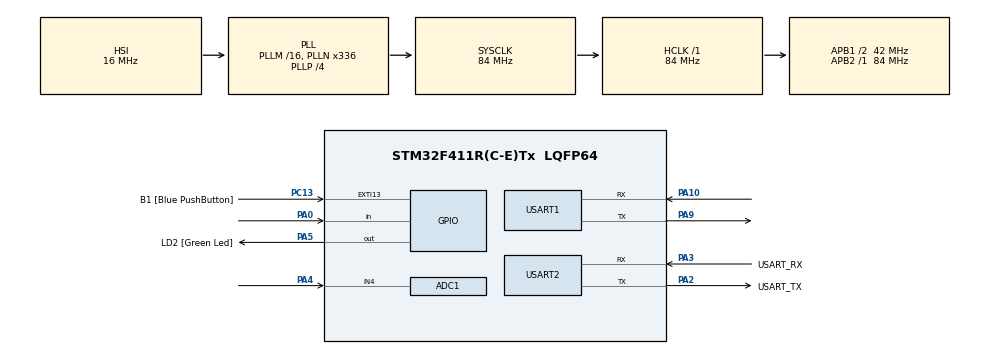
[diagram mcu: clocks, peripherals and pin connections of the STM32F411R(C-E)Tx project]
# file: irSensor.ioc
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ADC1.Channel-0\#ChannelRegularConversion=ADC_CHANNEL_4
ADC1.NbrOfConversionFlag=1
ADC1.Rank-0\#ChannelRegularConversion=1
ADC1.SamplingTime-0\#ChannelRegularConversion=ADC_SAMPLETIME_3CYCLES
ADC1.master=1
FREERTOS.Mutexes01=myMutex01,Dynamic,NULL
FREERTOS.Tasks01=defaultTask,0,128,StartDefaultTask,Default,NULL,Dynamic,NULL,NULL;myTask01,-3,128,StartTask01,Default,NULL,Dynamic,NULL,NULL;myTask02,-3,128,StartTask02,Default,NULL,Dynamic,NULL,NULL;myTask03,-3,128,StartTask03,Default,NULL,Dynamic,NULL,NULL;myTask04,-3,128,StartTask04,Default,NULL,Dynamic,NULL,NULL
Mcu.Family=STM32F4
Mcu.Name=STM32F411R(C-E)Tx
Mcu.Package=LQFP64
NVIC.PriorityGroup=NVIC_PRIORITYGROUP_4
NVIC.USART1_IRQn=true\:5\:0\:false\:false\:true\:true\:true\:true
PA0-WKUP.GPIO_PuPd=GPIO_PULLDOWN
PA0-WKUP.Signal=GPIO_Input
PA10.Mode=Asynchronous
PA10.Signal=USART1_RX
PA13.GPIO_Label=TMS
PA13.Mode=Serial_Wire
PA13.Signal=SYS_JTMS-SWDIO
PA14.GPIO_Label=TCK
PA14.Mode=Serial_Wire
PA14.Signal=SYS_JTCK-SWCLK
PA2.GPIO_Label=USART_TX
PA2.Mode=Asynchronous
PA2.Signal=USART2_TX
PA3.GPIO_Label=USART_RX
PA3.Mode=Asynchronous
PA3.Signal=USART2_RX
PA4.Signal=ADCx_IN4
PA5.GPIO_Label=LD2 [Green Led]
PA5.Signal=GPIO_Output
PA9.Mode=Asynchronous
PA9.Signal=USART1_TX
PB3.GPIO_Label=SWO
PB3.Signal=SYS_JTDO-SWO
PC13-ANTI_TAMP.GPIO_Label=B1 [Blue PushButton]
PC13-ANTI_TAMP.GPIO_ModeDefaultEXTI=GPIO_MODE_IT_FALLING
PC13-ANTI_TAMP.Signal=GPXTI13
PC14-OSC32_IN.Signal=RCC_OSC32_IN
PC15-OSC32_OUT.Signal=RCC_OSC32_OUT
PH0\ -\ OSC_IN.Mode=HSE-External-Oscillator
PH0\ -\ OSC_IN.Signal=RCC_OSC_IN
PH1\ -\ OSC_OUT.Mode=HSE-External-Oscillator
PH1\ -\ OSC_OUT.Signal=RCC_OSC_OUT
ProjectManager.HeapSize=0x200
ProjectManager.StackSize=0x400
ProjectManager.TargetToolchain=STM32CubeIDE
RCC.48MHZClocksFreq_Value=84000000
RCC.AHBFreq_Value=84000000
RCC.APB1CLKDivider=RCC_HCLK_DIV2
RCC.APB1Freq_Value=42000000
RCC.APB1TimFreq_Value=84000000
RCC.APB2Freq_Value=84000000
RCC.APB2TimFreq_Value=84000000
RCC.CortexFreq_Value=84000000
RCC.FLatency-AdvancedSettings=FLASH_LATENCY_2
RCC.HCLKFreq_Value=84000000
RCC.HSE_VALUE=8000000
RCC.HSI_VALUE=16000000
RCC.LSE_VALUE=32768
RCC.PLLN=336
RCC.PLLP=RCC_PLLP_DIV4
RCC.SYSCLKFreq_VALUE=84000000
RCC.SYSCLKSource=RCC_SYSCLKSOURCE_PLLCLK
RCC.VCOOutputFreq_Value=336000000
SH.ADCx_IN4.0=ADC1_IN4,IN4
USART1.VirtualMode=VM_ASYNC
USART2.VirtualMode=VM_ASYNC
VP_FREERTOS_VS_CMSIS_V1.Mode=CMSIS_V1
board=NUCLEO-F411RE

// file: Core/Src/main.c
/* USER CODE BEGIN Header */
/**
  ******************************************************************************
  * @file           : main.c
  * @brief          : Main program body
  ******************************************************************************
  * @attention
  *
  * Copyright (c) 2022 STMicroelectronics.
  * All rights reserved.
  *
  * This software is licensed under terms that can be found in the LICENSE file
  * in the root directory of this software component.
  * If no LICENSE file comes with this software, it is provided AS-IS.
  *
  ******************************************************************************
  */
/* USER CODE END Header */
#include "main.h"
#include "cmsis_os.h"

ADC_HandleTypeDef hadc1;

UART_HandleTypeDef huart1;
UART_HandleTypeDef huart2;

osThreadId defaultTaskHandle;
osThreadId myTask01Handle;
osThreadId myTask02Handle;
osThreadId myTask03Handle;
osThreadId myTask04Handle;
osMutexId myMutex01Handle;
/* USER CODE BEGIN PV */
char Rx_data[1] = { 0 };
//char Rx_data_Refill[1] = { 0 };
//char Rx_data_weight[10] = {0};
/* USER CODE END PV */

void SystemClock_Config(void);
static void MX_GPIO_Init(void);
static void MX_USART2_UART_Init(void);
static void MX_ADC1_Init(void);
static void MX_USART1_UART_Init(void);
void StartDefaultTask(void const * argument);
void StartTask01(void const * argument);
void StartTask02(void const * argument);
void StartTask03(void const * argument);
void StartTask04(void const * argument);

/* USER CODE BEGIN PFP */
int check1=0;
int count=0;
int c1=0;
int c2=0;
/* USER CODE END PFP */

/* USER CODE BEGIN 0 */
void HAL_UART_RxCpltCallback(UART_HandleTypeDef *huart)
{
  //Rx_data[0]='1';

  HAL_UART_Receive_IT(&huart1, (uint8_t*) Rx_data, 1);

  HAL_UART_Transmit(&huart2, (uint8_t*) Rx_data, 1, 1000);
}

/* USER CODE END 0 */

int main(void)
{

  /* MCU Configuration--------------------------------------------------------*/

  /* Reset of all peripherals, Initializes the Flash interface and the Systick. */
  HAL_Init();

  /* Configure the system clock */
  SystemClock_Config();

  /* Initialize all configured peripherals */
  MX_GPIO_Init();
  MX_USART2_UART_Init();
  MX_ADC1_Init();
  MX_USART1_UART_Init();
  /* USER CODE BEGIN 2 */
  HAL_UART_Receive_IT(&huart1, (uint8_t*) Rx_data, 1); // Nhận Datan
  /* USER CODE END 2 */

  /* Create the mutex(es) */
  /* definition and creation of myMutex01 */
  osMutexDef(myMutex01);
  myMutex01Handle = osMutexCreate(osMutex(myMutex01));

  /* Create the thread(s) */
  /* definition and creation of defaultTask */
  osThreadDef(defaultTask, StartDefaultTask, osPriorityNormal, 0, 128);
  defaultTaskHandle = osThreadCreate(osThread(defaultTask), NULL);

  /* definition and creation of myTask01 */
  osThreadDef(myTask01, StartTask01, osPriorityIdle, 0, 128);
  myTask01Handle = osThreadCreate(osThread(myTask01), NULL);

  /* definition and creation of myTask02 */
  osThreadDef(myTask02, StartTask02, osPriorityIdle, 0, 128);
  myTask02Handle = osThreadCreate(osThread(myTask02), NULL);

  /* definition and creation of myTask03 */
  osThreadDef(myTask03, StartTask03, osPriorityIdle, 0, 128);
  myTask03Handle = osThreadCreate(osThread(myTask03), NULL);

  /* definition and creation of myTask04 */
  osThreadDef(myTask04, StartTask04, osPriorityIdle, 0, 128);
  myTask04Handle = osThreadCreate(osThread(myTask04), NULL);

  /* Start scheduler */
  osKernelStart();

  /* We should never get here as control is now taken by the scheduler */
  /* Infinite loop */
  while (1)
  {

    /* USER CODE BEGIN 3 */
//	  char buffer[20];
//	     if(check==0 && !HAL_GPIO_ReadPin(GPIOA, GPIO_PIN_0)){
//	      buffer[0] = '1';
//	      HAL_UART_Transmit(&huart2, &buffer, strlen(buffer), 100);
//	      check=1;
//	      count++;
//	     }
//	     if(HAL_GPIO_ReadPin(GPIOA, GPIO_PIN_0)){
//	      check=0;
//	      buffer[0] = '0';
//	      HAL_UART_Transmit(&huart2, &buffer, strlen(buffer), 100);
//	     }
//	     HAL_Delay(200);
  }
  /* USER CODE END 3 */
}

void SystemClock_Config(void)
{
  RCC_OscInitTypeDef RCC_OscInitStruct = {0};
  RCC_ClkInitTypeDef RCC_ClkInitStruct = {0};

  /** Configure the main internal regulator output voltage
  */
  __HAL_RCC_PWR_CLK_ENABLE();
  __HAL_PWR_VOLTAGESCALING_CONFIG(PWR_REGULATOR_VOLTAGE_SCALE1);
  /** Initializes the RCC Oscillators according to the specified parameters
  * in the RCC_OscInitTypeDef structure.
  */
  RCC_OscInitStruct.OscillatorType = RCC_OSCILLATORTYPE_HSI;
  RCC_OscInitStruct.HSIState = RCC_HSI_ON;
  RCC_OscInitStruct.HSICalibrationValue = RCC_HSICALIBRATION_DEFAULT;
  RCC_OscInitStruct.PLL.PLLState = RCC_PLL_ON;
  RCC_OscInitStruct.PLL.PLLSource = RCC_PLLSOURCE_HSI;
  RCC_OscInitStruct.PLL.PLLM = 16;
  RCC_OscInitStruct.PLL.PLLN = 336;
  RCC_OscInitStruct.PLL.PLLP = RCC_PLLP_DIV4;
  RCC_OscInitStruct.PLL.PLLQ = 4;
  if (HAL_RCC_OscConfig(&RCC_OscInitStruct) != HAL_OK)
  {
    Error_Handler();
  }
  /** Initializes the CPU, AHB and APB buses clocks
  */
  RCC_ClkInitStruct.ClockType = RCC_CLOCKTYPE_HCLK|RCC_CLOCKTYPE_SYSCLK
                              |RCC_CLOCKTYPE_PCLK1|RCC_CLOCKTYPE_PCLK2;
  RCC_ClkInitStruct.SYSCLKSource = RCC_SYSCLKSOURCE_PLLCLK;
  RCC_ClkInitStruct.AHBCLKDivider = RCC_SYSCLK_DIV1;
  RCC_ClkInitStruct.APB1CLKDivider = RCC_HCLK_DIV2;
  RCC_ClkInitStruct.APB2CLKDivider = RCC_HCLK_DIV1;

  if (HAL_RCC_ClockConfig(&RCC_ClkInitStruct, FLASH_LATENCY_2) != HAL_OK)
  {
    Error_Handler();
  }
}

static void MX_ADC1_Init(void)
{

  ADC_ChannelConfTypeDef sConfig = {0};

  /** Configure the global features of the ADC (Clock, Resolution, Data Alignment and number of conversion)
  */
  hadc1.Instance = ADC1;
  hadc1.Init.ClockPrescaler = ADC_CLOCK_SYNC_PCLK_DIV4;
  hadc1.Init.Resolution = ADC_RESOLUTION_12B;
  hadc1.Init.ScanConvMode = DISABLE;
  hadc1.Init.ContinuousConvMode = DISABLE;
  hadc1.Init.DiscontinuousConvMode = DISABLE;
  hadc1.Init.ExternalTrigConvEdge = ADC_EXTERNALTRIGCONVEDGE_NONE;
  hadc1.Init.ExternalTrigConv = ADC_SOFTWARE_START;
  hadc1.Init.DataAlign = ADC_DATAALIGN_RIGHT;
  hadc1.Init.NbrOfConversion = 1;
  hadc1.Init.DMAContinuousRequests = DISABLE;
  hadc1.Init.EOCSelection = ADC_EOC_SINGLE_CONV;
  if (HAL_ADC_Init(&hadc1) != HAL_OK)
  {
    Error_Handler();
  }
  /** Configure for the selected ADC regular channel its corresponding rank in the sequencer and its sample time.
  */
  sConfig.Channel = ADC_CHANNEL_4;
  sConfig.Rank = 1;
  sConfig.SamplingTime = ADC_SAMPLETIME_3CYCLES;
  if (HAL_ADC_ConfigChannel(&hadc1, &sConfig) != HAL_OK)
  {
    Error_Handler();
  }

}

static void MX_USART1_UART_Init(void)
{

  huart1.Instance = USART1;
  huart1.Init.BaudRate = 115200;
  huart1.Init.WordLength = UART_WORDLENGTH_8B;
  huart1.Init.StopBits = UART_STOPBITS_1;
  huart1.Init.Parity = UART_PARITY_NONE;
  huart1.Init.Mode = UART_MODE_TX_RX;
  huart1.Init.HwFlowCtl = UART_HWCONTROL_NONE;
  huart1.Init.OverSampling = UART_OVERSAMPLING_16;
  if (HAL_UART_Init(&huart1) != HAL_OK)
  {
    Error_Handler();
  }

}

static void MX_USART2_UART_Init(void)
{

  huart2.Instance = USART2;
  huart2.Init.BaudRate = 115200;
  huart2.Init.WordLength = UART_WORDLENGTH_8B;
  huart2.Init.StopBits = UART_STOPBITS_1;
  huart2.Init.Parity = UART_PARITY_NONE;
  huart2.Init.Mode = UART_MODE_TX_RX;
  huart2.Init.HwFlowCtl = UART_HWCONTROL_NONE;
  huart2.Init.OverSampling = UART_OVERSAMPLING_16;
  if (HAL_UART_Init(&huart2) != HAL_OK)
  {
    Error_Handler();
  }

}

static void MX_GPIO_Init(void)
{
  GPIO_InitTypeDef GPIO_InitStruct = {0};

  /* GPIO Ports Clock Enable */
  __HAL_RCC_GPIOC_CLK_ENABLE();
  __HAL_RCC_GPIOH_CLK_ENABLE();
  __HAL_RCC_GPIOA_CLK_ENABLE();
  __HAL_RCC_GPIOB_CLK_ENABLE();

  /*Configure GPIO pin Output Level */
  HAL_GPIO_WritePin(LD2_GPIO_Port, LD2_Pin, GPIO_PIN_RESET);

  /*Configure GPIO pin : B1_Pin */
  GPIO_InitStruct.Pin = B1_Pin;
  GPIO_InitStruct.Mode = GPIO_MODE_IT_FALLING;
  GPIO_InitStruct.Pull = GPIO_NOPULL;
  HAL_GPIO_Init(B1_GPIO_Port, &GPIO_InitStruct);

  /*Configure GPIO pin : PA0 */
  GPIO_InitStruct.Pin = GPIO_PIN_0;
  GPIO_InitStruct.Mode = GPIO_MODE_INPUT;
  GPIO_InitStruct.Pull = GPIO_PULLDOWN;
  HAL_GPIO_Init(GPIOA, &GPIO_InitStruct);

  /*Configure GPIO pin : LD2_Pin */
  GPIO_InitStruct.Pin = LD2_Pin;
  GPIO_InitStruct.Mode = GPIO_MODE_OUTPUT_PP;
  GPIO_InitStruct.Pull = GPIO_NOPULL;
  GPIO_InitStruct.Speed = GPIO_SPEED_FREQ_LOW;
  HAL_GPIO_Init(LD2_GPIO_Port, &GPIO_InitStruct);

}

void StartDefaultTask(void const * argument)
{
  for(;;)
  {
    osDelay(1);
  }
}

void StartTask01(void const * argument)
{
  /* USER CODE BEGIN StartTask01 */
  /* Infinite loop */
	int count0 = 0;
	//char buffer0[20];
	int check0 = 0;
	for(;;){
		  int threadID = 0;
		  //int idx = 0;
		  char buffer1[32]={-1};
		  if(Rx_data[0]=='s'){
				  count0=0;
				  c1=1;
				  sprintf(buffer1, "%da", count0);
				  osMutexWait(myMutex01Handle, osWaitForever);
				  HAL_UART_Transmit(&huart1, buffer1, strlen(buffer1), 1000);
				  osMutexRelease(myMutex01Handle);
				  osThreadYield();
				  HAL_Delay(100);
		  }
		  if(check0==0 && !HAL_GPIO_ReadPin(GPIOA, GPIO_PIN_0)){
				  //buffer0[0] = '1';
				  //HAL_UART_Transmit(&huart2, &buffer, strlen(buffer), 100);
				  check0=1;
				  count0++;
				  sprintf(buffer1, "%da", count0);
				  //idx++;
				  osMutexWait(myMutex01Handle, osWaitForever);
				  HAL_UART_Transmit(&huart1, buffer1, strlen(buffer1), 1000);
				  HAL_UART_Transmit(&huart2, buffer1, strlen(buffer1), 1000);
				  osMutexRelease(myMutex01Handle);
				  osThreadYield();
		  }
		  if(HAL_GPIO_ReadPin(GPIOA, GPIO_PIN_0)){
				  check0=0;
				  //buffer0[0] = '0';
				  //HAL_UART_Transmit(&huart2, &buffer, strlen(buffer), 100);
		  }
		  HAL_Delay(50);

			  //sprintf(buffer, "count0: %d %d\r\n", threadID, count0);
			  //idx++;
			  //osMutexWait(myMutex01Handle, osWaitForever);
			  //HAL_UART_Transmit(&huart2, buffer, strlen(buffer), 1000);
			  //osMutexRelease(myMutex01Handle);
			  //osThreadYield();
	  }
  /* USER CODE END StartTask01 */
}

void StartTask02(void const * argument)
{
  /* USER CODE BEGIN StartTask02 */
  /* Infinite loop */
	int count1 = 0;
	int ADCValue=0;
	 for(;;){
		  int threadID = 1;
		  int idx = 0;
		  char buffer2[32]={-1};
		  HAL_ADC_Start(&hadc1);
		  if(Rx_data[0]=='s'){
				  count1=0;
				  sprintf(buffer2, "%dp", count1);
				  osMutexWait(myMutex01Handle, osWaitForever);
				  HAL_UART_Transmit(&huart1, buffer2, strlen(buffer2), 1000);
				  osMutexRelease(myMutex01Handle);
				  osThreadYield();
				  HAL_Delay(100);
				  c2=1;
		  }
		  if(check1==0 && !HAL_GPIO_ReadPin(GPIOA, GPIO_PIN_1)){
			  	  //buffer0[0] = '1';
			  	  //HAL_UART_Transmit(&huart2, &buffer, strlen(buffer), 100);
			  	  check1=1;
			  	  count1++;
			  	  sprintf(buffer2, "%dp", count1);
			  	  //idx++;
			  	  osMutexWait(myMutex01Handle, osWaitForever);
			  	  HAL_UART_Transmit(&huart1, buffer2, strlen(buffer2), 1000);
			  	  HAL_UART_Transmit(&huart2, buffer2, strlen(buffer2), 1000);
			  	  osMutexRelease(myMutex01Handle);
			  	  osThreadYield();
		  }
		  if(HAL_GPIO_ReadPin(GPIOA, GPIO_PIN_1)){
			  	  check1=0;
			  	  //buffer0[0] = '0';
			  	  //HAL_UART_Transmit(&huart2, &buffer, strlen(buffer), 100);
		  }
		  HAL_Delay(50);
	  }
  /* USER CODE END StartTask02 */
}

void StartTask03(void const * argument)
{
  /* USER CODE BEGIN StartTask03 */
  /* Infinite loop */
  int tog = 0;
  char buffer5[20]={-1};
  for(;;)
  {
	  if(Rx_data[0]=='t' || tog==1){
		  HAL_Delay(200);
		  HAL_GPIO_TogglePin(GPIOA, GPIO_PIN_5);
		  tog = 1;
	  }
	  if(Rx_data[0]=='l'){
		  tog = 0;
		  HAL_GPIO_WritePin(GPIOA, GPIO_PIN_5, GPIO_PIN_RESET);
		  Rx_data[0]='x';
		  sprintf(buffer5, "%dl", 0);
		  osMutexWait(myMutex01Handle, osWaitForever);
		  HAL_UART_Transmit(&huart1, buffer5, strlen(buffer5), 1000);
		  osMutexRelease(myMutex01Handle);
		  osThreadYield();
	  }
  }
  /* USER CODE END StartTask03 */
}

void StartTask04(void const * argument)
{
  /* USER CODE BEGIN StartTask04 */
  /* Infinite loop */
  char buffer4[20]={-1};

  for(;;)
  {

	  if(Rx_data[0]=='s' && c1==1 && c2==1){
		  //HAL_UART_Transmit(&huart2, "xxxx", 4, 1000);
		  c1=0;
		  c2=0;
	  	  Rx_data[0]='x';
		  sprintf(buffer4, "%ds", 0);
		  osMutexWait(myMutex01Handle, osWaitForever);
		  HAL_UART_Transmit(&huart1, buffer4, strlen(buffer4), 1000);
		  osMutexRelease(myMutex01Handle);
		  osThreadYield();
	  }
//	  if(Rx_data[0]=='l'){
//		  //HAL_UART_Transmit(&huart2, "xxxx", 4, 1000);
//	  	  Rx_data[0]='x';
//		  sprintf(buffer5, "%dl", 0);
//		  osMutexWait(myMutex01Handle, osWaitForever);
//		  HAL_UART_Transmit(&huart1, buffer5, strlen(buffer5), 1000);
//		  osMutexRelease(myMutex01Handle);
//		  osThreadYield();
//	  }
  }
  /* USER CODE END StartTask04 */
}

void Error_Handler(void)
{
  __disable_irq();
  while (1)
  {
  }
}
